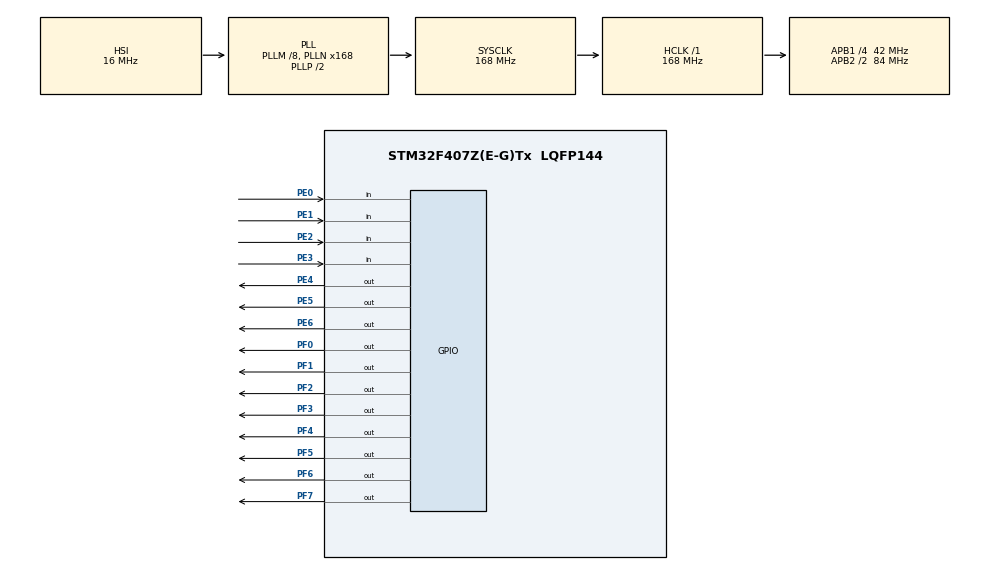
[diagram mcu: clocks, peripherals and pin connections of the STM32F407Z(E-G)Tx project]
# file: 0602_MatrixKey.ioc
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Mcu.Family=STM32F4
Mcu.Name=STM32F407Z(E-G)Tx
Mcu.Package=LQFP144
NVIC.PriorityGroup=NVIC_PRIORITYGROUP_4
PA13.Mode=Serial_Wire
PA13.Signal=SYS_JTMS-SWDIO
PA14.Mode=Serial_Wire
PA14.Signal=SYS_JTCK-SWCLK
PE0.GPIO_PuPd=GPIO_PULLUP
PE0.Signal=GPIO_Input
PE1.GPIO_PuPd=GPIO_PULLUP
PE1.Signal=GPIO_Input
PE2.GPIO_PuPd=GPIO_PULLUP
PE2.Signal=GPIO_Input
PE3.GPIO_PuPd=GPIO_PULLUP
PE3.Signal=GPIO_Input
PE4.Signal=GPIO_Output
PE5.Signal=GPIO_Output
PE6.Signal=GPIO_Output
PF0.PinState=GPIO_PIN_SET
PF0.Signal=GPIO_Output
PF1.PinState=GPIO_PIN_SET
PF1.Signal=GPIO_Output
PF2.PinState=GPIO_PIN_SET
PF2.Signal=GPIO_Output
PF3.PinState=GPIO_PIN_SET
PF3.Signal=GPIO_Output
PF4.PinState=GPIO_PIN_SET
PF4.Signal=GPIO_Output
PF5.PinState=GPIO_PIN_SET
PF5.Signal=GPIO_Output
PF6.PinState=GPIO_PIN_SET
PF6.Signal=GPIO_Output
PF7.PinState=GPIO_PIN_SET
PF7.Signal=GPIO_Output
PH0-OSC_IN.Mode=HSE-External-Oscillator
PH0-OSC_IN.Signal=RCC_OSC_IN
PH1-OSC_OUT.Mode=HSE-External-Oscillator
PH1-OSC_OUT.Signal=RCC_OSC_OUT
ProjectManager.HeapSize=0x200
ProjectManager.StackSize=0x400
ProjectManager.TargetToolchain=MDK-ARM V5.32
RCC.48MHZClocksFreq_Value=84000000
RCC.AHBFreq_Value=168000000
RCC.APB1CLKDivider=RCC_HCLK_DIV4
RCC.APB1Freq_Value=42000000
RCC.APB1TimFreq_Value=84000000
RCC.APB2CLKDivider=RCC_HCLK_DIV2
RCC.APB2Freq_Value=84000000
RCC.APB2TimFreq_Value=168000000
RCC.CortexFreq_Value=168000000
RCC.HCLKFreq_Value=168000000
RCC.HSE_VALUE=25000000
RCC.HSI_VALUE=16000000
RCC.LSE_VALUE=32768
RCC.PLLM=8
RCC.PLLN=168
RCC.SYSCLKFreq_VALUE=168000000
RCC.SYSCLKSource=RCC_SYSCLKSOURCE_PLLCLK
RCC.VCOOutputFreq_Value=336000000
board=custom

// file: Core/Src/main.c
/* USER CODE BEGIN Header */
/**
  ******************************************************************************
  * @file           : main.c
  * @brief          : Main program body
  ******************************************************************************
  * @attention
  *
  * Copyright (c) 2026 STMicroelectronics.
  * All rights reserved.
  *
  * This software is licensed under terms that can be found in the LICENSE file
  * in the root directory of this software component.
  * If no LICENSE file comes with this software, it is provided AS-IS.
  *
  ******************************************************************************
  */
/* USER CODE END Header */
#include "main.h"
#include "gpio.h"

/* USER CODE BEGIN Includes */
#include "mycode.h"
/* USER CODE END Includes */

void SystemClock_Config(void);

int main(void)
{

  /* USER CODE BEGIN 1 */
  uint8_t key;
  /* USER CODE END 1 */

  /* MCU Configuration--------------------------------------------------------*/

  /* Reset of all peripherals, Initializes the Flash interface and the Systick. */
  HAL_Init();

  /* Configure the system clock */
  SystemClock_Config();

  /* Initialize all configured peripherals */
  MX_GPIO_Init();
  /* USER CODE BEGIN 2 */
  Key_Init();
  /* USER CODE END 2 */

  /* Infinite loop */
  while (1)
  {

    /* USER CODE BEGIN 3 */
    key = Key_Scan();
    if (key != KEY_NONE)
    {
      switch (key)
      {
        case 1:
        case 2:
        case 3:
        case 4:
        case 5:
        case 6:
        case 7:
        case 8:
          Led_Toggle(key - 1);
          break;

        case 9:
          LedWater_Run();           /* 9 号键跑流水灯 */
          break;

        case 10:
          Led_All_Off();            /* 10 号键全灭 */
          break;

        case 11:
          Led_All_On();             /* 11 号键全亮 */
          break;

        case 12:
          for (uint8_t i = 0; i < LED_NUM; i++)
          {
            Led_Toggle(i);          /* 12 号键全部翻转 */
          }
          break;

        default:
          break;
      }
    }
  }
  /* USER CODE END 3 */
}

void SystemClock_Config(void)
{
  RCC_OscInitTypeDef RCC_OscInitStruct = {0};
  RCC_ClkInitTypeDef RCC_ClkInitStruct = {0};

  /** Configure the main internal regulator output voltage
  */
  __HAL_RCC_PWR_CLK_ENABLE();
  __HAL_PWR_VOLTAGESCALING_CONFIG(PWR_REGULATOR_VOLTAGE_SCALE1);

  /** Initializes the RCC Oscillators according to the specified parameters
  * in the RCC_OscInitTypeDef structure.
  */
  RCC_OscInitStruct.OscillatorType = RCC_OSCILLATORTYPE_HSI;
  RCC_OscInitStruct.HSIState = RCC_HSI_ON;
  RCC_OscInitStruct.HSICalibrationValue = RCC_HSICALIBRATION_DEFAULT;
  RCC_OscInitStruct.PLL.PLLState = RCC_PLL_ON;
  RCC_OscInitStruct.PLL.PLLSource = RCC_PLLSOURCE_HSI;
  RCC_OscInitStruct.PLL.PLLM = 8;
  RCC_OscInitStruct.PLL.PLLN = 168;
  RCC_OscInitStruct.PLL.PLLP = RCC_PLLP_DIV2;
  RCC_OscInitStruct.PLL.PLLQ = 4;
  if (HAL_RCC_OscConfig(&RCC_OscInitStruct) != HAL_OK)
  {
    Error_Handler();
  }

  /** Initializes the CPU, AHB and APB buses clocks
  */
  RCC_ClkInitStruct.ClockType = RCC_CLOCKTYPE_HCLK|RCC_CLOCKTYPE_SYSCLK
                              |RCC_CLOCKTYPE_PCLK1|RCC_CLOCKTYPE_PCLK2;
  RCC_ClkInitStruct.SYSCLKSource = RCC_SYSCLKSOURCE_PLLCLK;
  RCC_ClkInitStruct.AHBCLKDivider = RCC_SYSCLK_DIV1;
  RCC_ClkInitStruct.APB1CLKDivider = RCC_HCLK_DIV4;
  RCC_ClkInitStruct.APB2CLKDivider = RCC_HCLK_DIV2;

  if (HAL_RCC_ClockConfig(&RCC_ClkInitStruct, FLASH_LATENCY_5) != HAL_OK)
  {
    Error_Handler();
  }
}

void Error_Handler(void)
{
  __disable_irq();
  while (1)
  {
  }
}
